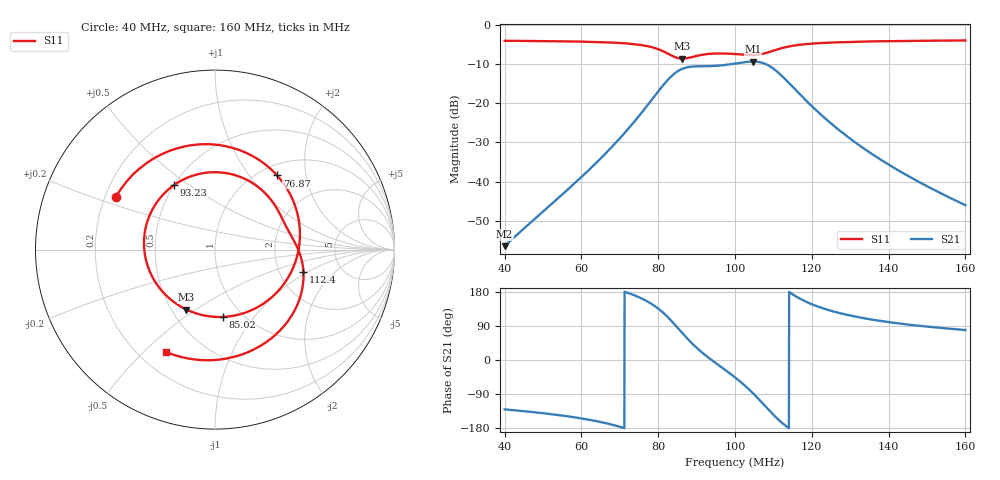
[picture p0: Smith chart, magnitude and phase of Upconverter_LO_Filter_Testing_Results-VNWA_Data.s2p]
! ListType=Lin
# MHZ S DB R 50
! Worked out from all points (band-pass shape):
!   2048 points, 40 MHz to 160 MHz, reference 50 ohm
!   highest |S21| = -9.36 dB at 104.7 MHz (marker M1); lowest = -56.5 dB at 40 MHz (marker M2)
!   |S21| within 3 dB of the highest: 84.33 MHz to 111.5 MHz (27.13 MHz wide, 27.7 % of centre)
!   lowest |S11| = -8.6 dB at 86.31 MHz (marker M3), VSWR 2.17, Z = 29.7 - j23 ohm
!   |S11| at or under -10 dB: nowhere
!   S12 and S22 are empty: the file has one direction only
!   S11 on the Smith chart (normalised r, x): 40 MHz: 0.24, +0.24; 76.87 MHz: 1.19, +1.38; 85.02 MHz: 0.81, -0.71; 93.23 MHz: 0.50, +0.44; 112.4 MHz: 2.72, -0.91; 160 MHz: 0.31, -0.58
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40  -4.08 151.9  -56.51 -130.4  -3000.00 -90.0  -3000.00 -90.0
60.04885  -4.28 122.6  -38.82 -154.2  -3000.00 -90.0  -3000.00 -90.0
70.89399  -4.68 88.1  -28.03 -178.9  -3000.00 -90.0  -3000.00 -90.0
74.17684  -4.97 70.3  -24.27 169.2  -3000.00 -90.0  -3000.00 -90.0
76.87347  -5.37 50.0  -20.96 156.3  -3000.00 -90.0  -3000.00 -90.0
80.03908  -6.23 15.1  -16.94 135.3  -3000.00 -90.0  -3000.00 -90.0
82.4426  -7.31 -24.8  -14.11 113.7  -3000.00 -90.0  -3000.00 -90.0
85.02198  -8.46 -83.3  -11.87 85.3  -3000.00 -90.0  -3000.00 -90.0
86.31168  -8.64 -115.5  -11.22 70.5  -3000.00 -90.0  -3000.00 -90.0
87.83586  -8.44 -150.8  -10.79 53.7  -3000.00 -90.0  -3000.00 -90.0
89.36004  -8.08 179.1  -10.62 38.3  -3000.00 -90.0  -3000.00 -90.0
91.06009  -7.71 151.5  -10.57 22.9  -3000.00 -90.0  -3000.00 -90.0
93.22912  -7.42 122.7  -10.54 5.3  -3000.00 -90.0  -3000.00 -90.0
96.27748  -7.31 89.8  -10.36 -17.6  -3000.00 -90.0  -3000.00 -90.0
100.0293  -7.45 56.4  -9.88 -46.0  -3000.00 -90.0  -3000.00 -90.0
104.7191  -7.69 24.6  -9.36 -88.1  -3000.00 -90.0  -3000.00 -90.0
108.8227  -6.97 4.6  -10.42 -132.2  -3000.00 -90.0  -3000.00 -90.0
112.3986  -5.88 -14.1  -13.22 -167.1  -3000.00 -90.0  -3000.00 -90.0
120.0195  -4.80 -49.3  -20.77 147.1  -3000.00 -90.0  -3000.00 -90.0
128.2853  -4.41 -74.2  -27.79 121.3  -3000.00 -90.0  -3000.00 -90.0
140.0098  -4.16 -95.8  -35.68 100.0  -3000.00 -90.0  -3000.00 -90.0
160  -3.99 -115.7  -46.04 79.1  -3000.00 -90.0  -3000.00 -90.0
